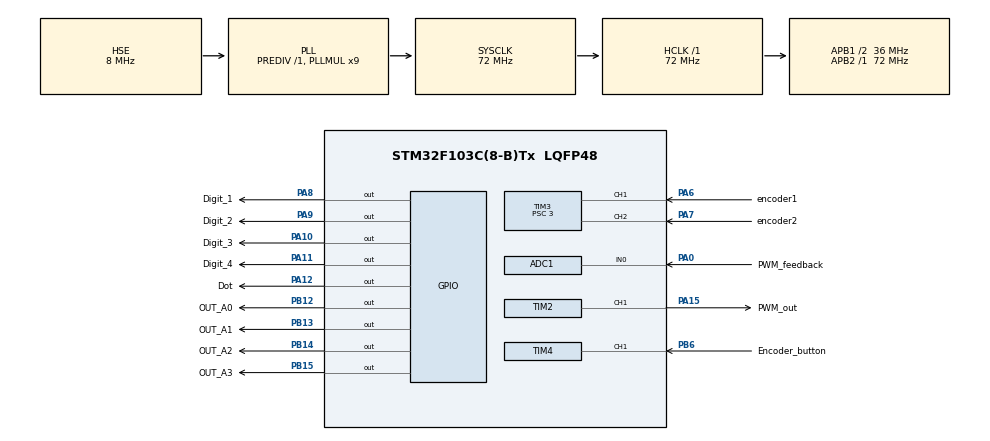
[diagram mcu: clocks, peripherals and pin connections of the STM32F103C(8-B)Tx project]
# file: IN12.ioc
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ADC1.Channel-0\#ChannelRegularConversion=ADC_CHANNEL_0
ADC1.ContinuousConvMode=ENABLE
ADC1.NbrOfConversionFlag=1
ADC1.Rank-0\#ChannelRegularConversion=1
ADC1.SamplingTime-0\#ChannelRegularConversion=ADC_SAMPLETIME_71CYCLES_5
ADC1.master=1
Dma.ADC1.0.Direction=DMA_PERIPH_TO_MEMORY
Dma.ADC1.0.Instance=DMA1_Channel1
Dma.ADC1.0.MemDataAlignment=DMA_MDATAALIGN_HALFWORD
Dma.ADC1.0.MemInc=DMA_MINC_DISABLE
Dma.ADC1.0.Mode=DMA_NORMAL
Dma.ADC1.0.PeriphDataAlignment=DMA_PDATAALIGN_HALFWORD
Dma.ADC1.0.PeriphInc=DMA_PINC_DISABLE
Dma.ADC1.0.Priority=DMA_PRIORITY_LOW
Dma.Request0=ADC1
Dma.Request1=TIM4_CH2
Dma.TIM4_CH2.1.Direction=DMA_PERIPH_TO_MEMORY
Dma.TIM4_CH2.1.Instance=DMA1_Channel4
Dma.TIM4_CH2.1.MemDataAlignment=DMA_MDATAALIGN_WORD
Dma.TIM4_CH2.1.MemInc=DMA_MINC_DISABLE
Dma.TIM4_CH2.1.Mode=DMA_CIRCULAR
Dma.TIM4_CH2.1.PeriphDataAlignment=DMA_PDATAALIGN_WORD
Dma.TIM4_CH2.1.PeriphInc=DMA_PINC_DISABLE
Dma.TIM4_CH2.1.Priority=DMA_PRIORITY_LOW
FREERTOS.Tasks01=main,24,128,StartDefaultTask,Default,NULL,Dynamic,NULL,NULL;indication,8,128,StartTask02,Default,NULL,Dynamic,NULL,NULL
IWDG.Prescaler=IWDG_PRESCALER_256
Mcu.Family=STM32F1
Mcu.Name=STM32F103C(8-B)Tx
Mcu.Package=LQFP48
NVIC.DMA1_Channel1_IRQn=true\:0\:0\:false\:false\:true\:true\:false\:true
NVIC.DMA1_Channel4_IRQn=true\:0\:0\:false\:false\:true\:true\:false\:true
NVIC.PriorityGroup=NVIC_PRIORITYGROUP_4
NVIC.TIM1_UP_IRQn=true\:0\:0\:false\:false\:true\:false\:false\:true
NVIC.TimeBase=TIM1_UP_IRQn
NVIC.TimeBaseIP=TIM1
PA0-WKUP.GPIO_Label=PWM_feedback
PA0-WKUP.Signal=ADCx_IN0
PA10.GPIO_Label=Digit_3
PA10.GPIO_PuPd=GPIO_PULLDOWN
PA10.GPIO_Speed=GPIO_SPEED_FREQ_HIGH
PA10.Signal=GPIO_Output
PA11.GPIO_Label=Digit_4
PA11.GPIO_PuPd=GPIO_PULLDOWN
PA11.GPIO_Speed=GPIO_SPEED_FREQ_HIGH
PA11.Signal=GPIO_Output
PA12.GPIO_Label=Dot
PA12.GPIO_PuPd=GPIO_PULLDOWN
PA12.GPIO_Speed=GPIO_SPEED_FREQ_HIGH
PA12.Signal=GPIO_Output
PA13.Mode=Serial_Wire
PA13.Signal=SYS_JTMS-SWDIO
PA14.Mode=Serial_Wire
PA14.Signal=SYS_JTCK-SWCLK
PA15.GPIO_Label=PWM_out
PA15.Signal=S_TIM2_CH1_ETR
PA6.GPIO_Label=encoder1
PA6.Signal=S_TIM3_CH1
PA7.GPIO_Label=encoder2
PA7.Signal=S_TIM3_CH2
PA8.GPIO_Label=Digit_1
PA8.GPIO_PuPd=GPIO_PULLDOWN
PA8.GPIO_Speed=GPIO_SPEED_FREQ_HIGH
PA8.PinState=GPIO_PIN_RESET
PA8.Signal=GPIO_Output
PA9.GPIO_Label=Digit_2
PA9.GPIO_PuPd=GPIO_PULLDOWN
PA9.GPIO_Speed=GPIO_SPEED_FREQ_HIGH
PA9.Signal=GPIO_Output
PB12.GPIO_Label=OUT_A0
PB12.GPIO_PuPd=GPIO_PULLDOWN
PB12.GPIO_Speed=GPIO_SPEED_FREQ_HIGH
PB12.Signal=GPIO_Output
PB13.GPIO_Label=OUT_A1
PB13.GPIO_PuPd=GPIO_PULLDOWN
PB13.GPIO_Speed=GPIO_SPEED_FREQ_HIGH
PB13.Signal=GPIO_Output
PB14.GPIO_Label=OUT_A2
PB14.GPIO_PuPd=GPIO_PULLDOWN
PB14.GPIO_Speed=GPIO_SPEED_FREQ_HIGH
PB14.Signal=GPIO_Output
PB15.GPIO_Label=OUT_A3
PB15.GPIO_PuPd=GPIO_PULLDOWN
PB15.GPIO_Speed=GPIO_SPEED_FREQ_HIGH
PB15.Signal=GPIO_Output
PB6.GPIO_Label=Encoder_button
PB6.Signal=S_TIM4_CH1
PC14-OSC32_IN.Mode=LSE-External-Oscillator
PC14-OSC32_IN.Signal=RCC_OSC32_IN
PC15-OSC32_OUT.Mode=LSE-External-Oscillator
PC15-OSC32_OUT.Signal=RCC_OSC32_OUT
PD0-OSC_IN.Mode=HSE-External-Oscillator
PD0-OSC_IN.Signal=RCC_OSC_IN
PD1-OSC_OUT.Mode=HSE-External-Oscillator
PD1-OSC_OUT.Signal=RCC_OSC_OUT
ProjectManager.HeapSize=0x200
ProjectManager.StackSize=0x400
ProjectManager.TargetToolchain=EWARM V8
RCC.ADCPresc=RCC_ADCPCLK2_DIV6
RCC.AHBFreq_Value=72000000
RCC.APB1CLKDivider=RCC_HCLK_DIV2
RCC.APB1Freq_Value=36000000
RCC.APB1TimFreq_Value=72000000
RCC.APB2Freq_Value=72000000
RCC.APB2TimFreq_Value=72000000
RCC.HCLKFreq_Value=72000000
RCC.PLLMUL=RCC_PLL_MUL9
RCC.PLLSourceVirtual=RCC_PLLSOURCE_HSE
RCC.RTCClockSelection=RCC_RTCCLKSOURCE_LSE
RCC.SYSCLKFreq_VALUE=72000000
RCC.SYSCLKSource=RCC_SYSCLKSOURCE_PLLCLK
RCC.USBFreq_Value=72000000
RTC.Format=RTC_FORMAT_BIN
SH.ADCx_IN0.0=ADC1_IN0,IN0
SH.S_TIM2_CH1_ETR.0=TIM2_CH1,PWM Generation1 CH1
SH.S_TIM3_CH1.0=TIM3_CH1,Encoder_Interface
SH.S_TIM3_CH2.0=TIM3_CH2,Encoder_Interface
SH.S_TIM4_CH1.0=TIM4_CH1,TriggerSource_TI1FP1
SH.S_TIM4_CH1.1=TIM4_CH1,Input_Capture1_from_TI1
SH.S_TIM4_CH1.2=TIM4_CH1,Input_Capture2_from_TI1
TIM2.AutoReloadPreload=TIM_AUTORELOAD_PRELOAD_DISABLE
TIM2.Channel-PWM\ Generation1\ CH1=TIM_CHANNEL_1
TIM2.OCFastMode_PWM-PWM\ Generation1\ CH1=TIM_OCFAST_ENABLE
TIM2.Period=100
TIM2.Prescaler=18
TIM2.Pulse-PWM\ Generation1\ CH1=50
TIM3.IC1Filter=7
TIM3.IC2Filter=7
TIM3.Period=120
TIM3.Prescaler=3
TIM4.Channel-Input_Capture1_from_TI1=TIM_CHANNEL_1
TIM4.Channel-Input_Capture2_from_TI1=TIM_CHANNEL_2
TIM4.ICFilter_CH1=8
TIM4.ICPolarity_CH1=TIM_INPUTCHANNELPOLARITY_FALLING
TIM4.Period=50000
TIM4.Prescaler=65534
VP_FREERTOS_VS_CMSIS_V2.Mode=CMSIS_V2
VP_IWDG_VS_IWDG.Mode=IWDG_Activate
VP_RTC_VS_RTC_Activate.Mode=RTC_Enabled
VP_SYS_VS_tim1.Mode=TIM1
VP_TIM4_VS_ControllerModeReset.Mode=Reset Mode
board=custom

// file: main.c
/* USER CODE BEGIN Header */
/**
  ******************************************************************************
  * @file           : main.c
  * @brief          : Main program body
  ******************************************************************************
  * @attention
  *
  * <h2><center>&copy; Copyright (c) 2021 STMicroelectronics.
  * All rights reserved.</center></h2>
  *
  * This software component is licensed by ST under Ultimate Liberty license
  * SLA0044, the "License"; You may not use this file except in compliance with
  * the License. You may obtain a copy of the License at:
  *                             www.st.com/SLA0044
  *
  ******************************************************************************
  */
/* USER CODE END Header */
#include "main.h"
#include "cmsis_os.h"
#include "adc.h"
#include "dma.h"
#include "iwdg.h"
#include "rtc.h"
#include "tim.h"
#include "gpio.h"

void SystemClock_Config(void);
void MX_FREERTOS_Init(void);

int main(void)
{

  /* MCU Configuration--------------------------------------------------------*/

  /* Reset of all peripherals, Initializes the Flash interface and the Systick. */
  HAL_Init();

  /* Configure the system clock */
  SystemClock_Config();

  /* Initialize all configured peripherals */
  MX_GPIO_Init();
  MX_DMA_Init();
  MX_ADC1_Init();
  MX_IWDG_Init();
  MX_RTC_Init();
  MX_TIM2_Init();
  MX_TIM3_Init();
  MX_TIM4_Init();

  /* Init scheduler */
  osKernelInitialize();  /* Call init function for freertos objects (in freertos.c) */
  MX_FREERTOS_Init();
  /* Start scheduler */
  osKernelStart();

  /* We should never get here as control is now taken by the scheduler */
  /* Infinite loop */
  while (1)
  {

  }
}

void SystemClock_Config(void)
{
  RCC_OscInitTypeDef RCC_OscInitStruct = {0};
  RCC_ClkInitTypeDef RCC_ClkInitStruct = {0};
  RCC_PeriphCLKInitTypeDef PeriphClkInit = {0};

  /** Initializes the RCC Oscillators according to the specified parameters
  * in the RCC_OscInitTypeDef structure.
  */
  RCC_OscInitStruct.OscillatorType = RCC_OSCILLATORTYPE_LSI|RCC_OSCILLATORTYPE_HSE
                              |RCC_OSCILLATORTYPE_LSE;
  RCC_OscInitStruct.HSEState = RCC_HSE_ON;
  RCC_OscInitStruct.HSEPredivValue = RCC_HSE_PREDIV_DIV1;
  RCC_OscInitStruct.LSEState = RCC_LSE_ON;
  RCC_OscInitStruct.HSIState = RCC_HSI_ON;
  RCC_OscInitStruct.LSIState = RCC_LSI_ON;
  RCC_OscInitStruct.PLL.PLLState = RCC_PLL_ON;
  RCC_OscInitStruct.PLL.PLLSource = RCC_PLLSOURCE_HSE;
  RCC_OscInitStruct.PLL.PLLMUL = RCC_PLL_MUL9;
  if (HAL_RCC_OscConfig(&RCC_OscInitStruct) != HAL_OK)
  {
    Error_Handler();
  }
  /** Initializes the CPU, AHB and APB buses clocks
  */
  RCC_ClkInitStruct.ClockType = RCC_CLOCKTYPE_HCLK|RCC_CLOCKTYPE_SYSCLK
                              |RCC_CLOCKTYPE_PCLK1|RCC_CLOCKTYPE_PCLK2;
  RCC_ClkInitStruct.SYSCLKSource = RCC_SYSCLKSOURCE_PLLCLK;
  RCC_ClkInitStruct.AHBCLKDivider = RCC_SYSCLK_DIV1;
  RCC_ClkInitStruct.APB1CLKDivider = RCC_HCLK_DIV2;
  RCC_ClkInitStruct.APB2CLKDivider = RCC_HCLK_DIV1;

  if (HAL_RCC_ClockConfig(&RCC_ClkInitStruct, FLASH_LATENCY_2) != HAL_OK)
  {
    Error_Handler();
  }
  PeriphClkInit.PeriphClockSelection = RCC_PERIPHCLK_RTC|RCC_PERIPHCLK_ADC;
  PeriphClkInit.RTCClockSelection = RCC_RTCCLKSOURCE_LSE;
  PeriphClkInit.AdcClockSelection = RCC_ADCPCLK2_DIV6;
  if (HAL_RCCEx_PeriphCLKConfig(&PeriphClkInit) != HAL_OK)
  {
    Error_Handler();
  }
}

void HAL_TIM_PeriodElapsedCallback(TIM_HandleTypeDef *htim)
{
  if (htim->Instance == TIM1) {
    HAL_IncTick();
  }
}

void Error_Handler(void)
{
}

/************************ (C) COPYRIGHT STMicroelectronics *****END OF FILE****/

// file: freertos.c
/* USER CODE BEGIN Header */
/**
  ******************************************************************************
  * File Name          : freertos.c
  * Description        : Code for freertos applications
  ******************************************************************************
  * @attention
  *
  * <h2><center>&copy; Copyright (c) 2021 STMicroelectronics.
  * All rights reserved.</center></h2>
  *
  * This software component is licensed by ST under Ultimate Liberty license
  * SLA0044, the "License"; You may not use this file except in compliance with
  * the License. You may obtain a copy of the License at:
  *                             www.st.com/SLA0044
  *
  ******************************************************************************
  */
/* USER CODE END Header */

#include "FreeRTOS.h"
#include "task.h"
#include "main.h"
#include "cmsis_os.h"

/* USER CODE BEGIN Includes */
#include "tim.h"
#include "adc.h"
#include "dma.h"
#include "iwdg.h"
#include "rtc.h"
#include "gpio.h"
/* USER CODE END Includes */

/* USER CODE BEGIN Variables */
//==================================================================variables===============================================//
RTC_TimeTypeDef CurTime = {0};
uint32_t button=0;
uint8_t flag=0,PWM=10;
uint16_t EncoderVal,dma,i;
//--------------------------------------------------------------------------------------------------------------------------//
/* USER CODE END Variables */
/* Definitions for main */
osThreadId_t mainHandle;
const osThreadAttr_t main_attributes = {
  .name = "main",
  .priority = (osPriority_t) osPriorityNormal,
  .stack_size = 128 * 4
};
/* Definitions for indication */
osThreadId_t indicationHandle;
const osThreadAttr_t indication_attributes = {
  .name = "indication",
  .priority = (osPriority_t) osPriorityLow,
  .stack_size = 128 * 4
};

void StartDefaultTask(void *argument);
void StartTask02(void *argument);

void MX_FREERTOS_Init(void); /* (MISRA C 2004 rule 8.1) */

void MX_FREERTOS_Init(void) {

  /* Create the thread(s) */
  /* creation of main */
  mainHandle = osThreadNew(StartDefaultTask, NULL, &main_attributes);

  /* creation of indication */
  indicationHandle = osThreadNew(StartTask02, NULL, &indication_attributes);

}

void StartDefaultTask(void *argument)
{
  /* USER CODE BEGIN StartDefaultTask */
  HAL_TIM_Encoder_Start(&htim3,TIM_CHANNEL_ALL);
  HAL_TIM_IC_Start_DMA(&htim4,TIM_CHANNEL_2,&button,1);
  HAL_TIM_PWM_Start(&htim2,TIM_CHANNEL_1);
  EncoderVal=__HAL_TIM_GET_COUNTER(&htim3);
  /* Infinite loop */
  for(;;)
  {
    HAL_IWDG_Refresh(&hiwdg);
    if (flag==0)
    {
      HAL_RTC_GetTime(&hrtc, &CurTime, RTC_FORMAT_BIN);
    }

    if ((button>500)&&(flag==0))
      {
        flag=1;         //activate setting hours
        __HAL_TIM_SET_COUNTER(&htim3,CurTime.Hours);
        button=0;
      }
    if (flag!=0)
      {
        if (button>500)
          {
            flag=0;             //close settings
            HAL_RTC_SetTime(&hrtc, &CurTime, RTC_FORMAT_BIN);
            button=0;
          }
        if (flag==1)
          {
            if(button>100)
              {
                __HAL_TIM_SET_COUNTER(&htim3,CurTime.Minutes);
                flag=2;
                button=0;
              }
          }
        if (flag==2)
          {
            if (button>100)
              {
                __HAL_TIM_SET_COUNTER(&htim3,CurTime.Hours);
                flag=1;
                button=0;
              }
          }

      }

    osDelay(500);

  }
  /* USER CODE END StartDefaultTask */
}

void StartTask02(void *argument)
{
  /* USER CODE BEGIN StartTask02 */
  osDelay(500);
  uint8_t migalka=0,digit_set=0,digit;
  /* Infinite loop */
  for(;;)
  {
    HAL_ADC_Stop(&hadc1);
    HAL_ADC_Stop_DMA(&hadc1);
 //   PWM=87;
   //==================================PWM============================//
    if ((dma<voltage)&&(PWM<93))
      {
         PWM++;
      }
    else if ((dma>voltage)&&(PWM>7))
      {
         PWM--;
      }
    __HAL_TIM_SET_COMPARE(&htim2, TIM_CHANNEL_1, PWM);
    //----------------------------------------------------------------//
    //==========================time management=======================//
    switch (flag)
    {
    case 1:
        CurTime.Hours=EncoderVal%24;
       break;
    case 2:
        CurTime.Minutes=EncoderVal%60;
       break;
    }
    //-----------------------------------------------------------------//

    EncoderVal=__HAL_TIM_GET_COUNTER(&htim3);
    HAL_GPIO_WritePin(Digit_1_GPIO_Port,Digit_1_Pin, GPIO_PIN_RESET);
    HAL_GPIO_WritePin(Digit_2_GPIO_Port,Digit_2_Pin, GPIO_PIN_RESET);
    HAL_GPIO_WritePin(Digit_3_GPIO_Port,Digit_3_Pin, GPIO_PIN_RESET);
    HAL_GPIO_WritePin(Digit_4_GPIO_Port,Digit_4_Pin, GPIO_PIN_RESET);
    HAL_GPIO_WritePin(Dot_GPIO_Port,Dot_Pin,GPIO_PIN_RESET );

    osDelay(1); //some delay becouse of lamps so slow

     //==========================time management=======================//
    switch (digit_set)
    {
    case 0:
       digit=CurTime.Hours/10;
       break;
    case 1:
       digit=CurTime.Hours%10;
       break;
    case 2:
       digit=CurTime.Minutes/10;
       break;
    case 3:
       digit=CurTime.Minutes%10;
       break;

    }

    if (digit<10)                               //insurance
    {
      HAL_GPIO_WritePin(OUT_A0_GPIO_Port,OUT_A0_Pin, digit&0x01);
      HAL_GPIO_WritePin(OUT_A1_GPIO_Port,OUT_A1_Pin, digit&0x02);
      HAL_GPIO_WritePin(OUT_A2_GPIO_Port,OUT_A2_Pin, digit&0x04);
      HAL_GPIO_WritePin(OUT_A3_GPIO_Port,OUT_A3_Pin, digit&0x08);
    }else{digit=0;}

    //-----------------------------------------------------------------//

        switch (digit_set)
    {
    case 0:
       HAL_GPIO_WritePin(Digit_1_GPIO_Port,Digit_1_Pin, GPIO_PIN_SET);
       break;
    case 1:
       HAL_GPIO_WritePin(Digit_2_GPIO_Port,Digit_2_Pin, GPIO_PIN_SET);
       break;
    case 2:
       HAL_GPIO_WritePin(Digit_3_GPIO_Port,Digit_3_Pin, GPIO_PIN_SET);
       break;
    case 3:
       HAL_GPIO_WritePin(Digit_4_GPIO_Port,Digit_4_Pin, GPIO_PIN_SET);
       break;
    case 4:
      if (migalka>100)
        {
          HAL_GPIO_WritePin(Dot_GPIO_Port,Dot_Pin,GPIO_PIN_SET);
        }
      break;
    }

    //=========================blynk on the settings page and dot=============================//
    if (migalka>100)
      {
        if (flag==1)
          {
              HAL_GPIO_WritePin(Digit_1_GPIO_Port,Digit_1_Pin, GPIO_PIN_RESET);
              HAL_GPIO_WritePin(Digit_2_GPIO_Port,Digit_2_Pin, GPIO_PIN_RESET);
          }
        else if (flag==2)
          {
              HAL_GPIO_WritePin(Digit_3_GPIO_Port,Digit_3_Pin, GPIO_PIN_RESET);
              HAL_GPIO_WritePin(Digit_4_GPIO_Port,Digit_4_Pin, GPIO_PIN_RESET);
          }

      }
    if (migalka>200)
        {
        migalka=0;
        //digit++;                //debug
        }
    //--------------------------------------------------------------------------------//
    migalka++;
    //digit_set=1;                //debug
    digit_set++;
    digit_set=(digit_set>4)?0:digit_set;
    HAL_ADC_Start_DMA(&hadc1,(uint32_t*)&dma,1);
    osDelay(3);
  }
  /* USER CODE END StartTask02 */
}

/************************ (C) COPYRIGHT STMicroelectronics *****END OF FILE****/
